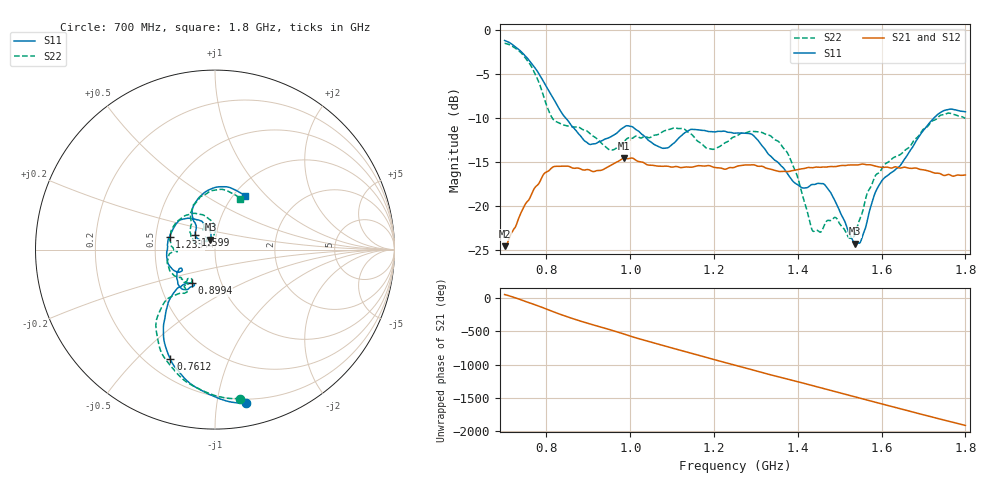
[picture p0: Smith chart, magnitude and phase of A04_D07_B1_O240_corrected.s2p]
! Created with skrf 1.9.0 (http://scikit-rf.org).
# Hz S RI R 50.0
!freq ReS11 ImS11 ReS21 ImS21 ReS12 ImS12 ReS22 ImS22
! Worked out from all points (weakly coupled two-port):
!   1601 points, 700 MHz to 1.8 GHz, reference 50 ohm
!   highest |S21| = -14.52 dB at 985.3 MHz (marker M1); lowest = -24.5 dB at 701.4 MHz (marker M2)
!   lowest |S11| = -24.2 dB at 1.537 GHz (marker M3), VSWR 1.13, Z = 47.2 + j5.28 ohm
!   |S11| at or under -10 dB: 846.2 MHz to 1.724 GHz (878.2 MHz wide, 68.3 % of centre)
!   |S22| runs from -23.6 to -1.5 dB; largest |S21 - S12| = 0.0037
!   S11 on the Smith chart (normalised r, x): 700 MHz: 0.17, -1.21; 761.2 MHz: 0.29, -0.63; 899.4 MHz: 0.72, -0.28; 1.233 GHz: 0.59, +0.09; 1.599 GHz: 0.79, +0.13; 1.8 GHz: 1.12, +0.77
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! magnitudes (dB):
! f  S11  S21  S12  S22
! 700 MHz  -1.2  -24.5  -24.3  -1.5
! 701.4 MHz  -1.2  -24.5  -24.2  -1.5
! 761.2 MHz  -3.6  -19.0  -18.9  -3.9
! 816.2 MHz  -7.8  -15.5  -15.6  -10.2
! 883.6 MHz  -12.2  -15.8  -15.7  -11.2
! 899.4 MHz  -12.9  -15.8  -15.9  -11.6
! 952.3 MHz  -12.1  -15.4  -15.4  -13.6
! 985.3 MHz  -11.0  -14.5  -14.6  -12.6
! 1.067 GHz  -13.2  -15.5  -15.4  -11.8
! 1.233 GHz  -11.6  -15.7  -15.7  -12.6
! 1.25 GHz  -11.7  -15.6  -15.5  -12.1
! 1.292 GHz  -11.9  -15.3  -15.3  -11.5
! 1.357 GHz  -15.3  -16.1  -16.0  -12.8
! 1.395 GHz  -17.4  -15.9  -15.9  -16.1
! 1.434 GHz  -17.5  -15.6  -15.6  -22.6
! 1.472 GHz  -18.1  -15.5  -15.5  -21.6
! 1.537 GHz  -24.2  -15.3  -15.3  -23.2
! 1.552 GHz  -23.7  -15.2  -15.3  -20.9
! 1.599 GHz  -17.2  -15.6  -15.6  -15.9
! 1.617 GHz  -16.4  -15.6  -15.6  -14.9
! 1.733 GHz  -9.6  -16.2  -16.3  -10.0
! 1.8 GHz  -9.3  -16.5  -16.5  -10.0
